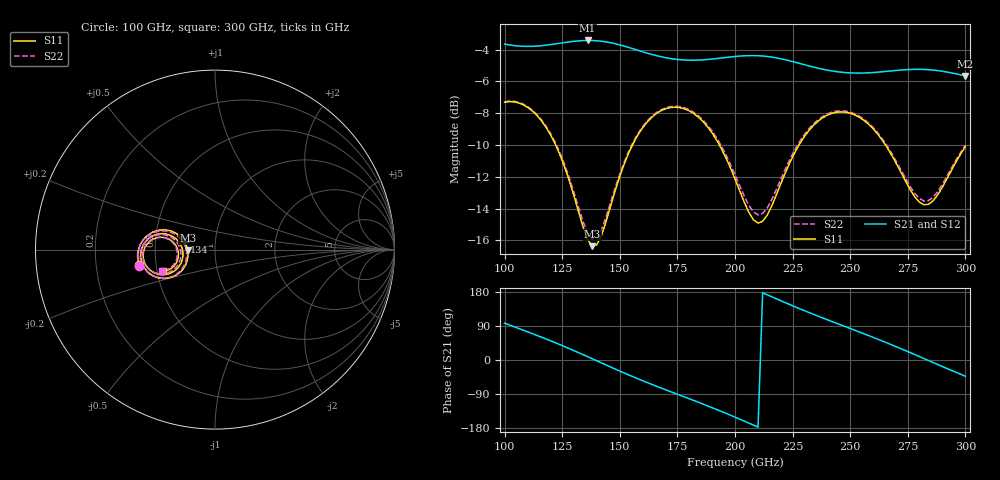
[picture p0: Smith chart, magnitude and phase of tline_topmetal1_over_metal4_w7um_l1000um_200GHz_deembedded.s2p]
! Created with skrf 2.2.0 (http://scikit-rf.org).
# GHz S DB R 50.0
! Port[1] = P1
! Port[2] = P2
!freq dBS11 angS11 dBS21 angS21 dBS12 angS12 dBS22 angS22
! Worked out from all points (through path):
!   101 points, 100 GHz to 300 GHz, reference 50 ohm
!   highest |S21| = -3.42 dB at 136 GHz (marker M1); lowest = -5.7 dB at 300 GHz (marker M2)
!   group delay of S21, straight-line fit = 6.95 ps
!   lowest |S11| = -16.4 dB at 138 GHz (marker M3), VSWR 1.36, Z = 36.8 - j0.373 ohm
!   |S11| at or under -10 dB: 122.2 GHz to 155.5 GHz (33.35 GHz wide, 24 % of centre); 193.2 GHz to 227.8 GHz (34.56 GHz wide, 16.4 % of centre); 265.3 GHz to end of sweep
!   |S22| runs from -15.9 to -7.2 dB; largest |S21 - S12| = 9.5e-14
!   S11 on the Smith chart (normalised r, x): 100 GHz: 0.40, -0.08; 134 GHz: 0.71, +0.06; 300 GHz: 0.54, -0.15
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100  -7.31 -168.6  -3.65 97.4  -3.65 97.4  -7.28 -168.1
108  -7.46 178.6  -3.79 78.9  -3.79 78.9  -7.42 179.3
118  -8.89 164.2  -3.72 55.4  -3.72 55.4  -8.82 165.3
126  -11.36 157.2  -3.55 35.5  -3.55 35.5  -11.22 158.6
134  -15.13 165.5  -3.43 14.3  -3.43 14.3  -14.80 166.9
136  -15.94 172.7  -3.42 8.9  -3.42 8.9  -15.55 173.7
138  -16.37 -178.1  -3.42 3.4  -3.42 3.4  -15.95 -177.6
146  -13.85 -149.3  -3.56 -18.5  -3.56 -18.5  -13.62 -150.2
154  -10.46 -148.3  -3.87 -39.8  -3.87 -39.8  -10.36 -148.8
168  -7.83 -165.3  -4.45 -74.2  -4.45 -74.2  -7.77 -165.1
184  -8.24 173.0  -4.65 -111.3  -4.65 -111.3  -8.15 173.8
200  -12.14 162.8  -4.43 -150.7  -4.43 -150.7  -11.87 164.3
208  -14.71 177.4  -4.37 -171.8  -4.37 -171.8  -14.22 178.1
212  -14.81 -169.1  -4.40 177.5  -4.40 177.5  -14.31 -169.7
224  -11.05 -152.1  -4.71 145.7  -4.71 145.7  -10.86 -153.6
234  -8.77 -159.4  -5.09 120.7  -5.09 120.7  -8.68 -160.4
252  -8.11 179.4  -5.47 78.5  -5.47 78.5  -8.04 179.1
268  -10.64 166.7  -5.33 40.1  -5.33 40.1  -10.52 166.8
276  -12.80 171.3  -5.25 19.6  -5.25 19.6  -12.61 171.4
284  -13.73 -171.6  -5.26 -1.4  -5.26 -1.4  -13.50 -172.1
292  -12.12 -158.0  -5.41 -22.4  -5.41 -22.4  -11.97 -159.0
300  -10.10 -157.1  -5.65 -42.8  -5.65 -42.8  -10.01 -158.0
